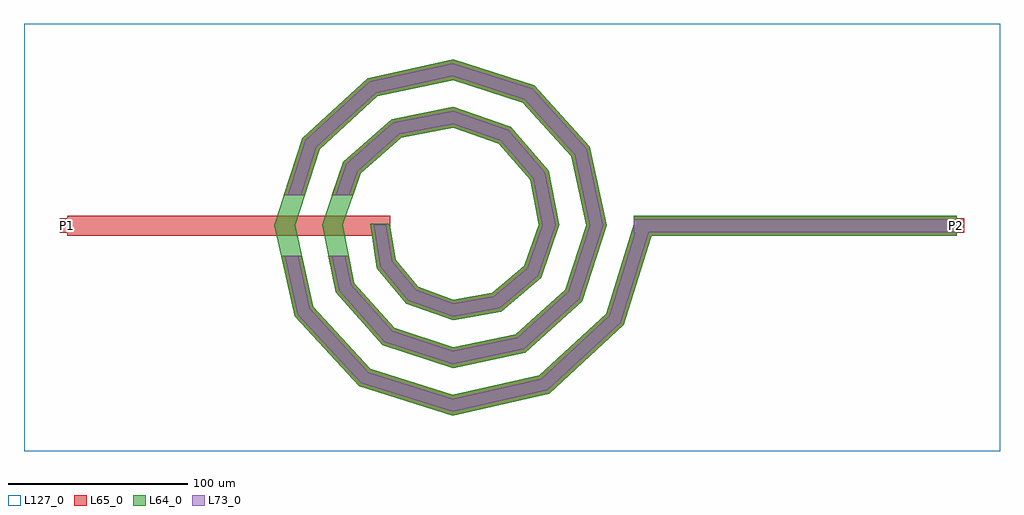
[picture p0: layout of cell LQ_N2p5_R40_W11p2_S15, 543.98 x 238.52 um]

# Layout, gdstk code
import gdstk
lib = gdstk.Library(unit=1e-6, precision=1e-09)
def R(c, l, rs):  # rectangles x0, y0, x1, y1
    for r in rs: c.add(gdstk.rectangle(r[:2], r[2:], *l))
def P(c, l, *ps):  # polygons
    for p in ps: c.add(gdstk.Polygon(p, *l))
L64_0 = (64, 0)
L65_0 = (65, 0)
L73_0 = (73, 0)
L127_0 = (127, 0)

lq_n2p5_r40_w11p2_s15 = lib.new_cell('LQ_N2p5_R40_W11p2_S15')
R(lq_n2p5_r40_w11p2_s15, L64_0, [(101.117,-5.6,281.117,5.6)])
P(lq_n2p5_r40_w11p2_s15, L64_0, [(-31.673,-18.931),(-19.091,-34.128),(0.506,-41.308),(22.176,-37.443),(39.828,-22.46),(47.929,0.444),(43.206,25.438),(25.817,45.536),(0.395,54.552),(-28.71,48.964),(-51.251,29.165),(-61.175,0.356),(-54.719,-31.99),(-32.506,-56.971),(0.324,-67.799),(35.276,-60.47),(62.693,-35.843),(74.423,0.298),(66.22,38.567),(39.176,68.418),(0.275,81.048),(-41.86,71.968),(-74.145,42.506),(-87.673,0.255),(-77.714,-45.157),(-45.833,-79.874),(0.239,-94.298),(48.455,-83.46),(85.603,-49.159),(101.368,1.659),(112.065,-1.659),(95.41,-55.349),(53.844,-93.728),(0.239,-105.884),(-52.049,-89.664),(-87.998,-50.517),(-99.258,0.255),(-83.916,48.751),(-47.188,82.268),(0.275,92.632),(45.456,78.168),(76.541,43.856),(86.005,0.298),(72.417,-42.163),(40.521,-70.814),(0.324,-79.379),(-38.874,-66.664),(-65.09,-37.182),(-72.751,0.356),(-60.907,35.59),(-33.836,59.369),(0.395,66.124),(32.312,55.146),(53.651,30.483),(59.495,0.444),(49.379,-29.044),(27.119,-47.938),(0.506,-52.865),(-25.787,-43.603),(-42.233,-23.739),(-45.987,0.909),(-34.935,0.909)])
R(lq_n2p5_r40_w11p2_s15, L65_0, [(-214.861,-5.6,-34.861,5.6), (101.117,-5.6,281.117,5.6), (-218.861,-4,-210.861,4), (277.117,-4,285.117,4)])
P(lq_n2p5_r40_w11p2_s15, L65_0, [(-77.714,-45.157),(-45.833,-79.874),(0.239,-94.298),(48.455,-83.46),(85.603,-49.159),(101.368,1.659),(112.065,-1.659),(95.41,-55.349),(53.844,-93.728),(0.239,-105.884),(-52.049,-89.664),(-87.998,-50.517),(-95.476,-16.8),(-84.003,-16.8)],
  [(-54.719,-31.99),(-32.506,-56.971),(0.324,-67.799),(35.276,-60.471),(62.693,-35.843),(74.423,0.298),(66.22,38.567),(39.176,68.418),(0.275,81.048),(-41.86,71.968),(-74.145,42.506),(-82.277,16.8),(-94.024,16.8),(-83.916,48.751),(-47.188,82.268),(0.275,92.632),(45.456,78.168),(76.541,43.856),(86.005,0.298),(72.417,-42.163),(40.521,-70.814),(0.324,-79.379),(-38.874,-66.664),(-65.09,-37.182),(-69.25,-16.8),(-57.819,-16.8)],
  [(-19.091,-34.128),(0.506,-41.308),(22.176,-37.443),(39.828,-22.46),(47.929,0.444),(43.206,25.438),(25.817,45.537),(0.395,54.552),(-28.71,48.965),(-51.251,29.165),(-55.408,16.8),(-67.224,16.8),(-60.907,35.59),(-33.836,59.369),(0.395,66.124),(32.313,55.146),(53.651,30.483),(59.495,0.444),(49.379,-29.044),(27.119,-47.939),(0.506,-52.865),(-25.787,-43.603),(-42.233,-23.739),(-45.987,0.909),(-34.935,0.909),(-31.673,-18.931)])
R(lq_n2p5_r40_w11p2_s15, L73_0, [(101.117,-3.6,281.117,3.6)])
P(lq_n2p5_r40_w11p2_s15, L73_0, [(-79.551,-46.114),(-46.943,-81.622),(0.153,-96.367),(49.418,-85.294),(87.355,-50.265),(103.278,1.067),(110.155,-1.067),(93.659,-54.243),(52.882,-91.894),(0.153,-103.815),(-50.939,-87.916),(-86.161,-49.56),(-93.427,-16.8),(-86.052,-16.8)],
  [(-56.571,-32.917),(-33.643,-58.702),(0.209,-69.867),(36.213,-62.318),(64.43,-36.971),(76.492,0.191),(68.063,39.511),(40.297,70.159),(0.177,83.117),(-42.812,73.807),(-75.89,43.621),(-84.375,16.8),(-91.927,16.8),(-82.172,47.636),(-46.237,80.429),(0.177,90.563),(44.334,76.427),(74.698,42.912),(83.937,0.191),(70.681,-41.035),(39.585,-68.967),(0.209,-77.311),(-37.737,-64.933),(-63.238,-36.255),(-67.209,-16.8),(-59.86,-16.8)],
  [(-20.287,-35.82),(0.325,-43.372),(23.059,-39.318),(41.534,-23.636),(49.995,0.285),(45.072,26.339),(26.977,47.253),(0.254,56.618),(-29.625,50.822),(-52.976,30.312),(-57.518,16.8),(-65.114,16.8),(-59.183,34.443),(-32.921,57.511),(0.254,64.057),(31.153,53.43),(51.786,29.582),(57.43,0.285),(47.674,-27.868),(26.236,-46.064),(0.325,-50.802),(-24.591,-41.911),(-40.347,-22.88),(-44.014,0.584),(-36.909,0.584),(-33.559,-19.79)])
R(lq_n2p5_r40_w11p2_s15, L127_0, [(-238.861,-125.884,305.117,112.632)])
lq_n2p5_r40_w11p2_s15.add(gdstk.Label('P2', (281.117,0), layer=65, texttype=0))
lq_n2p5_r40_w11p2_s15.add(gdstk.Label('P1', (-214.861,0), layer=65, texttype=0))
lq_n2p5_r40_w11p2_s15.add(gdstk.Label('P2', (285.117,0), layer=145, texttype=0))
lq_n2p5_r40_w11p2_s15.add(gdstk.Label('P1', (-218.861,0), layer=145, texttype=0))

lib.write_gds('LQ_N2p5_R40_W11p2_S15.gds')
